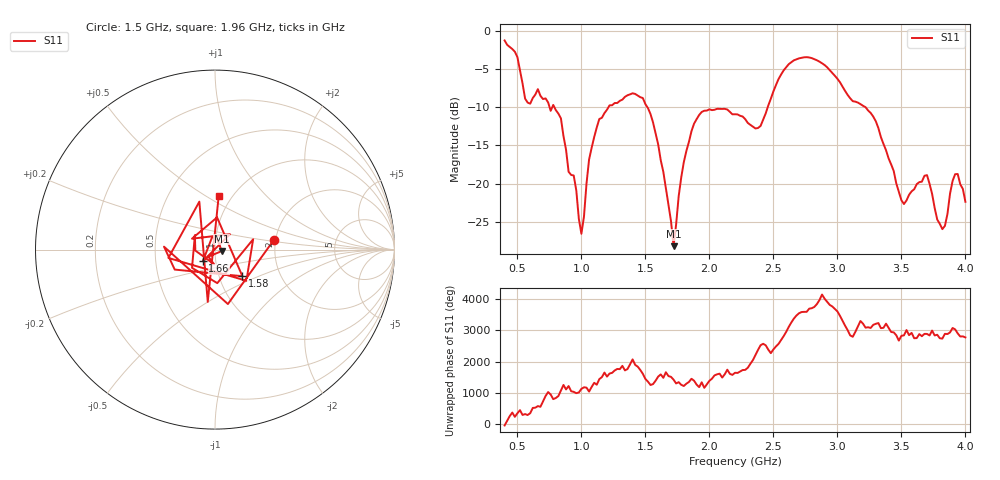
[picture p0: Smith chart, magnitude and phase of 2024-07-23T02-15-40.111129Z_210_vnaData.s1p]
!Created with skrf (http://scikit-rf.org).
# Hz S RI R 50.0
!freq ReS11 ImS11
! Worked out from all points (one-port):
!   181 points, 400 MHz to 4 GHz, reference 50 ohm
!   lowest |S11| = -28.2 dB at 1.72 GHz (marker M1), VSWR 1.08, Z = 53.9 - j0.895 ohm
!   |S11| at or under -10 dB: 788.6 MHz to 1.212 GHz (423 MHz wide, 42.3 % of centre); 1.515 GHz to 2.456 GHz (940.6 MHz wide, 47.4 % of centre); 3.219 GHz to end of sweep (the widest 3 of 4)
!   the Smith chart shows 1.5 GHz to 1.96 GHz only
!   S11 on the Smith chart (normalised r, x): 1.5 GHz: 1.95, +0.23; 1.58 GHz: 1.29, -0.40; 1.66 GHz: 0.87, -0.11; 1.96 GHz: 0.87, +0.57
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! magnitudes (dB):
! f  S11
! 400 MHz  -1.3
! 500 MHz  -3.5
! 560 MHz  -8.9
! 660 MHz  -7.6
! 860 MHz  -13.8
! 940 MHz  -18.9
! 1 GHz  -26.6
! 1.06 GHz  -16.9
! 1.12 GHz  -12.7
! 1.3 GHz  -9.2
! 1.5 GHz  -9.6
! 1.58 GHz  -13.4
! 1.66 GHz  -20.6
! 1.72 GHz  -28.2
! 1.76 GHz  -21.7
! 1.86 GHz  -13.1
! 1.96 GHz  -10.5
! 2.2 GHz  -10.9
! 2.4 GHz  -12.5
! 2.66 GHz  -3.9
! 3.1 GHz  -8.8
! 3.28 GHz  -11.2
! 3.5 GHz  -22.2
! 3.56 GHz  -21.5
! 3.7 GHz  -18.9
! 3.82 GHz  -26.0
! 3.92 GHz  -18.8
! 4 GHz  -22.4
